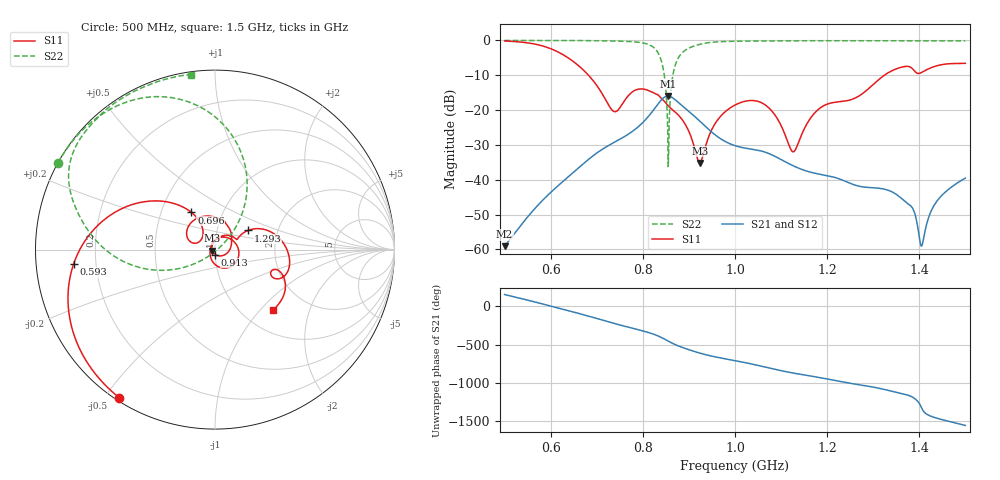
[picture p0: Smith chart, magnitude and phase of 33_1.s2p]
! TOUCHSTONE file generated by CST MICROWAVE STUDIO
! Date and time: Fri Oct  2 18:06:24 2020
! Project name: Scenario_1_Free_Space_out_of_line.cst
! Parameters = {Lambda=346.42; Step_1=17.321; dy1=-207.272; dx1=173; L_HA=400; MT=2.54; Rad_Dielectric=30; Rad_Lower=7.3; Rad_Upper=30; a_HA=580; a_WG=246; b_HA=500; b_WG=121; c_HA=0; c_WG=187; d_feed=85; h_feed=15; h_lower=18; h_upper=40}
! Header version: 2018
! Port assignment regex: !\s*Touchstone port\s*([0-9]+)\s*=\s*(CST MWS port|CST DS port)\s*([0-9]+|Zmin|Zmax)\s*\(\"(.*)\"\)(\s*mode\s*([0-9]+))?.*
! Touchstone port assignment:
! Touchstone port 1 = CST MWS port 1 ("")
! Touchstone port 2 = CST MWS port 2 ("")
# GHz S DB R 50
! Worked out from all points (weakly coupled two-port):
!   1003 points, 500 MHz to 1.5 GHz, reference 50 ohm
!   highest |S21| = -15.95 dB at 854 MHz (marker M1); lowest = -59.1 dB at 500 MHz (marker M2)
!   lowest |S11| = -35.2 dB at 924 MHz (marker M3), VSWR 1.04, Z = 48.4 - j0.568 ohm
!   |S11| at or under -10 dB: 682.1 MHz to 1.324 GHz (642 MHz wide, 64 % of centre)
!   |S22| runs from -36.2 to 0.0 dB; largest |S21 - S12| = 2.5e-06
!   S11 on the Smith chart (normalised r, x): 500 MHz: 0.01, -0.55; 593 MHz: 0.12, -0.05; 696 MHz: 0.71, +0.31; 913 MHz: 1.00, -0.05; 1.293 GHz: 1.41, +0.31; 1.5 GHz: 1.37, -1.19
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0.5  -0.15 -122.8  -59.06 154.0  -59.06 154.0  -0.01 151.1
0.593  -2.03 -174.2  -44.51 14.8  -44.51 14.8  -0.02 144.6
0.667  -8.01 137.4  -35.83 -102.3  -35.83 -102.3  -0.04 138.3
0.696  -12.21 122.4  -32.72 -151.3  -32.72 -151.3  -0.08 135.2
0.738  -20.43 142.1  -29.24 136.9  -29.24 136.9  -0.16 129.5
0.786  -14.14 139.1  -25.23 61.9  -25.23 61.9  -0.46 118.3
0.834  -15.77 69.9  -18.07 -28.0  -18.07 -28.0  -3.80 81.7
0.845  -17.25 51.9  -16.47 -59.8  -16.47 -59.8  -8.74 61.0
0.854  -18.59 38.4  -15.95 -89.3  -15.95 -89.3  -26.02 32.9
0.873  -20.88 10.6  -17.35 -145.7  -17.35 -145.7  -6.11 -171.2
0.913  -31.24 -87.3  -21.88 129.6  -21.88 129.6  -1.51 160.7
0.924  -35.18 -160.3  -23.22 109.9  -23.22 109.9  -1.10 156.9
1  -18.55 18.6  -30.21 12.1  -30.21 12.1  -0.23 140.1
1.069  -18.85 -64.5  -32.24 -77.1  -32.24 -77.1  -0.15 132.5
1.126  -31.97 166.4  -35.97 -148.9  -35.97 -148.9  -0.10 127.5
1.167  -21.74 64.7  -37.93 169.0  -37.93 169.0  -0.09 124.1
1.293  -13.47 30.2  -42.24 35.2  -42.24 35.2  -0.09 114.5
1.334  -9.16 13.4  -43.08 -17.0  -43.08 -17.0  -0.10 111.4
1.384  -7.98 -23.6  -47.89 -99.4  -47.89 -99.4  -0.10 107.6
1.405  -9.19 -18.5  -59.04 115.5  -59.04 115.5  -0.10 105.9
1.436  -7.35 -24.6  -46.54 -14.2  -46.54 -14.2  -0.11 103.4
1.5  -6.57 -46.2  -39.52 -112.5  -39.52 -112.5  -0.14 97.8
